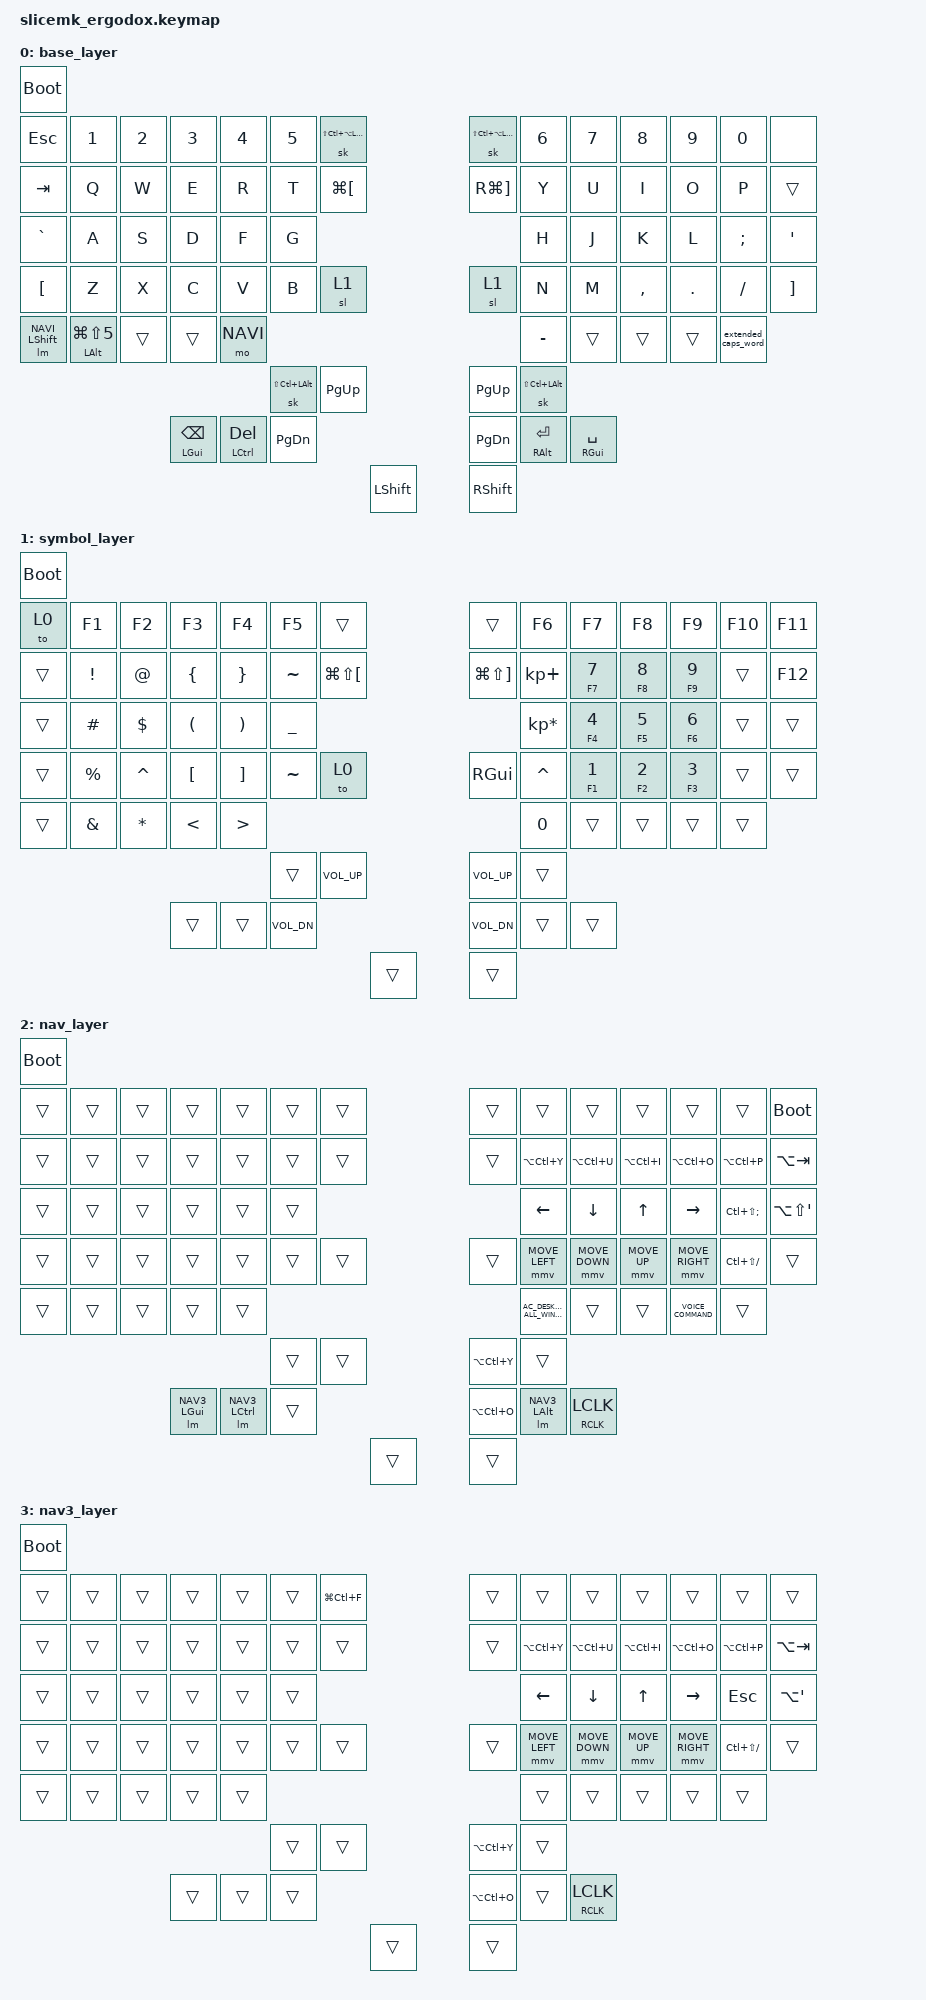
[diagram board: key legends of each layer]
/*
 * SliceMK ErgoDox Wireless keymap (dongle central).
 *
 * Four layers:
 *   BASE (0)  alphas, numbers, and mods on the home row / thumbs
 *   SYMB (1)  symbols and function keys
 *   NAVI (2)  arrows, mouse movement, and media
 *   NAV3 (3)  extended navigation reached from within NAVI
 *
 * KEY POSITION MAP — 77 positions, numbered as the bindings are laid out
 * row by row below. Position 0 is the dedicated bootloader key and is NOT
 * part of the grid.
 *
 *   1  2  3  4  5  6  7        8  9 10 11 12 13 14
 *  15 16 17 18 19 20 21       22 23 24 25 26 27 28
 *  29 30 31 32 33 34             35 36 37 38 39 40
 *  41 42 43 44 45 46 47       48 49 50 51 52 53 54
 *  55 56 57 58 59                   60 61 62 63 64
 *
 *  thumbs:      65 66            67 68      (top pair)
 *            69 70 71            72 73 74   (big keys + inner)
 *                  75            76         (lower single)
 */

#include <behaviors.dtsi>
#include <dt-bindings/zmk/keys.h>
#include <dt-bindings/zmk/bt.h>
#define ZMK_POINTING_DEFAULT_MOVE_VAL 900  /* default 600; nav-layer mouse keys */
#include <dt-bindings/zmk/pointing.h>

#define BASE 0
#define SYMB 1
#define NAVI 2
#define NAV3 3

/*
 * BEHAVIOR LEGEND — what the &-prefixed codes below mean, in plain English.
 *
 *   &kp X          press key X (a letter, number, or symbol)
 *   &sk MOD        "sticky"/one-shot modifier: tap it and it applies to just
 *                  the NEXT key you press, then releases itself
 *   &sl N          "sticky"/one-shot layer: next key alone comes from layer N
 *   &mo N          hold to use layer N; releases when you let go
 *   &to N          switch to layer N and stay there
 *   &mt MOD X      hold = modifier MOD, tap = key X
 *   &lm N MOD      hold = layer N AND modifier MOD at the same time (custom)
 *   &trans         "transparent": do whatever this key does on the layer below
 *   &none          does nothing
 *   &extended_caps_word  like Caps Lock for one word; MINUS stays in-word and becomes _
 *   &bootloader    reboot into flashing mode (for updating the firmware)
 *   &mmv / &msc    move the mouse pointer / scroll the mouse wheel
 *   &mkp BTN       click a mouse button (LCLK left, RCLK right)
 *
 *   Custom hold-tap keys defined in the behaviors block below:
 *   &df0 MOD X     hold modifier MOD, tap key X
 *   &tmt MOD X     thumb mod-tap: like &mt but tap-preferred — a quick tap
 *                  types the key, only a deliberate hold sends the modifier;
 *                  tap then hold again within quick-tap-ms repeats the tap key
 *   &df1 N X       hold layer N, tap key X
 *   &dfk X Y       hold key X, tap key Y
 *   &df11 B1 B2    hold mouse button B1, tap mouse button B2
 *   &st_macro_0/1  type the text "-> " / "=> "
 *
 * MODIFIER NAMES — L/R = left/right; GUI is the Command/Windows/Super key.
 *   Codes nest to press several at once, e.g.
 *     LS(LC(LALT))       = Shift+Ctrl+Alt          ("Meh")
 *     LS(LC(LA(LGUI)))   = Shift+Ctrl+Alt+GUI      ("Hyper")
 *     LG(LBKT)           = Command + [
 *     LA(LC(Y))          = Ctrl+Alt+Y
 */

/ {
    behaviors {
        /* Dual-function (hold-tap) keys: holding past the tapping term
           engages the first binding, a quick tap sends the second.
           tap-preferred favors the tapped keycode when timing is close. */
        df0: df0_screenshot_alt {   /* hold a modifier, tap a keycode */
            compatible = "zmk,behavior-hold-tap";
            #binding-cells = <2>;
            flavor = "tap-preferred";
            tapping-term-ms = <193>;
            bindings = <&kp>, <&kp>;
        };
        df1: df1_under_navi {   /* hold a layer, tap a keycode */
            compatible = "zmk,behavior-hold-tap";
            #binding-cells = <2>;
            flavor = "tap-preferred";
            tapping-term-ms = <107>;   /* short term: layer engages quickly */
            bindings = <&mo>, <&kp>;
        };
        dfk: dual_func_kp {   /* hold one keycode, tap another */
            compatible = "zmk,behavior-hold-tap";
            #binding-cells = <2>;
            flavor = "tap-preferred";
            tapping-term-ms = <193>;
            bindings = <&kp>, <&kp>;
        };
        df11: df11_mouse_buttons {   /* hold one mouse button, tap another */
            compatible = "zmk,behavior-hold-tap";
            #binding-cells = <2>;
            flavor = "tap-preferred";
            tapping-term-ms = <193>;
            bindings = <&mkp>, <&mkp>;
        };

        /* Thumb mod-taps: like the built-in &mt, but tap-preferred with a
           slightly longer term. During fast typing an interrupting key no
           longer forces the hold, so e.g. space-then-a-letter types a space
           instead of firing the modifier; only a deliberate hold sends MOD.
           quick-tap-ms: after a tap, press again within the window to hold
           the tap key so OS repeat kicks in (e.g. tap-then-hold Del). */
        tmt: thumb_mod_tap {
            compatible = "zmk,behavior-hold-tap";
            #binding-cells = <2>;
            flavor = "tap-preferred";
            tapping-term-ms = <220>;
            quick-tap-ms = <200>;
            bindings = <&kp>, <&kp>;
        };

        /* Layer-mod: while held, activates a layer and holds a modifier at
           the same time (first param = layer, second = modifier). */
        lm: layer_mod {
            compatible = "zmk,behavior-macro-two-param";
            #binding-cells = <2>;
            bindings
                = <&macro_param_1to1>, <&macro_press &mo MACRO_PLACEHOLDER>
                , <&macro_param_2to1>, <&macro_press &kp MACRO_PLACEHOLDER>
                , <&macro_pause_for_release>
                , <&macro_param_2to1>, <&macro_release &kp MACRO_PLACEHOLDER>
                , <&macro_param_1to1>, <&macro_release &mo MACRO_PLACEHOLDER>
                ;
        };

        /* Extended caps word: alphas + MINUS keep the word going; MINUS → _ . */
        extended_caps_word: extended_caps_word {
            compatible = "zmk,behavior-extended-caps-word";
            #binding-cells = <0>;
            continue-list = <UNDERSCORE BACKSPACE DELETE MINUS>;
        };

    };

    macros {
        st_macro_0: st_macro_0 {
            compatible = "zmk,behavior-macro";
            #binding-cells = <0>;
            wait-ms = <100>;
            tap-ms = <5>;
            bindings = <&kp MINUS &kp GT &kp SPACE>;   /* "-> " */
        };
        st_macro_1: st_macro_1 {
            compatible = "zmk,behavior-macro";
            #binding-cells = <0>;
            wait-ms = <100>;
            tap-ms = <5>;
            bindings = <&kp EQUAL &kp GT &kp SPACE>;   /* "=> " */
        };
    };

    combos {
        compatible = "zmk,combos";

        /* Same-hand combos: tight 50ms window, since both keys are pressed
           by one hand and land almost together. */

        /* --- unpaired, left hand (no mirror-image counterpart) --- */

        /*
         * LHS    q+e ➔ =
         */
        c_equal     { key-positions = <16 18>;       bindings = <&kp EQUAL>;       timeout-ms = <50>; };

        /*
         * LHS    a+d ➔ +
         */
        c_plus      { key-positions = <30 32>;       bindings = <&kp PLUS>;        timeout-ms = <50>; };

        /*
         * LHS    s+d ➔ <
         */
        c_lt        { key-positions = <31 32>;       bindings = <&kp LT>;          timeout-ms = <50>; };

        /*
         * LHS    d+f ➔ >
         */
        c_gt        { key-positions = <32 33>;       bindings = <&kp GT>;          timeout-ms = <50>; };

        /* --- unpaired, right hand (no mirror-image counterpart) --- */

        /*
         * RHS    k+l ➔ |
         */
        c_pipe      { key-positions = <37 38>;       bindings = <&kp PIPE>;        timeout-ms = <50>; };

        /*
         * RHS    j+k ➔ &
         */
        c_amps      { key-positions = <36 37>;       bindings = <&kp AMPS>;        timeout-ms = <50>; };

        /*
         * RHS    l+; ➔ backslash
         */
        c_bslh      { key-positions = <38 39>;       bindings = <&kp BSLH>;        timeout-ms = <50>; };

        /* --- isomorphic pairs (left / right mirror images, same action) --- */

        /*
         * LHS    d+v ➔ next key comes from the symbol layer
         */
        c_sl1_dv    { key-positions = <32 45>;       bindings = <&sl 1>;           timeout-ms = <50>; };
        /*
         * RHS    k+m ➔ next key comes from the symbol layer
         */
        c_sl1_mk    { key-positions = <37 50>;       bindings = <&sl 1>;           timeout-ms = <50>; };

        /*
         * LHS    s+d+f ➔ Shift the next key
         */
        c_sk_lsft_l { key-positions = <31 32 33>;    bindings = <&sk LSHFT>;       timeout-ms = <50>; };
        /*
         * RHS    j+k+l ➔ Shift the next key
         */
        c_sk_rsft_r { key-positions = <36 37 38>;    bindings = <&sk RSHFT>;       timeout-ms = <50>; };

        /*
         * LHS    w+e+r ➔ Ctrl the next key
         */
        c_sk_lctl   { key-positions = <17 18 19>;    bindings = <&sk LCTRL>;       timeout-ms = <50>; };
        /*
         * RHS    u+i+o ➔ Ctrl the next key
         */
        c_sk_rctl   { key-positions = <24 25 26>;    bindings = <&sk RCTRL>;       timeout-ms = <50>; };

        /*
         * LHS    x+c+v ➔ Alt the next key
         */
        c_sk_lalt   { key-positions = <43 44 45>;    bindings = <&sk LALT>;        timeout-ms = <50>; };
        /*
         * RHS    m+,+. ➔ Alt the next key
         */
        c_sk_ralt   { key-positions = <50 51 52>;    bindings = <&sk RALT>;        timeout-ms = <50>; };

        /*
         * LHS    a+s+d+f ➔ Command/GUI the next key
         */
        c_sk_lgui   { key-positions = <30 31 32 33>; bindings = <&sk LGUI>;        timeout-ms = <50>; };
        /*
         * RHS    j+k+l+; ➔ Command/GUI the next key
         */
        c_sk_rgui   { key-positions = <36 37 38 39>; bindings = <&sk RGUI>;        timeout-ms = <50>; };

        /* Cross-hand combos: wider 65ms window, allowing for the two split
           halves reporting slightly apart over the wireless link. */

        /*
         * d+k ➔ Search
         */
        c_search    { key-positions = <32 37>;       bindings = <&kp C_AC_SEARCH>; timeout-ms = <65>; };

        /*
         * f+j ➔ types "-> "
         */
        c_arrow     { key-positions = <33 36>;       bindings = <&st_macro_0>;     timeout-ms = <65>; };

        /*
         * e+f+j ➔ types "=> "
         */
        c_fatarrow  { key-positions = <18 33 36>;    bindings = <&st_macro_1>;     timeout-ms = <65>; };

        /*
         * f+; ➔ :
         */
        c_colon     { key-positions = <33 39>;       bindings = <&kp COLON>;       timeout-ms = <65>; };

        /*
         * f+/ ➔ ?
         */
        c_qmark     { key-positions = <33 52>;       bindings = <&kp QMARK>;       timeout-ms = <65>; };

        /*
         * f+- ➔ _
         */
        c_under     { key-positions = <33 60>;       bindings = <&kp UNDER>;       timeout-ms = <65>; };
    };

    keymap {
        compatible = "zmk,keymap";

        /* BASE (0) — everyday typing.
           Row 1 inner keys (beside 5/6): one-shot Hyper (Shift+Ctrl+Alt+GUI).
           Row 2 inner keys: Command+[ and Command+] .
           Row 4 inner keys (beside B/N): one-shot to the SYMBOL layer.
           Left thumb column (row 5):
             &lm NAVI LSHFT        hold NAV layer + Shift
             &df0 LALT LG(LS(N5))  hold Alt, or tap = screenshot (Cmd+Shift+5)
             &mo NAVI              hold NAV layer
           Thumb clusters (both hands):
             Meh (one-shot Shift+Ctrl+Alt) above the inner big key.
             Big keys — left: hold GUI/tap Backspace, hold Ctrl/tap Delete;
                        right: hold Alt/tap Enter, hold GUI/tap Space.
             Inner column, top to bottom: Page Up, Page Down, Shift.
           &extended_caps_word (bottom right): Caps Lock that ends at the next word.
           App bindings:
             Alt+H/J/K/L: AeroSpace focus. [source](https://github.com/blehrer/dotfiles/search?q=%22keymap-ref%3A+aerospace-directional-focus%22&type=code)
             Alt+Shift+H/J/K/L: AeroSpace move. [source](https://github.com/blehrer/dotfiles/search?q=%22keymap-ref%3A+aerospace-directional-move%22&type=code)
             Alt+-/=: AeroSpace resize. [source](https://github.com/blehrer/dotfiles/search?q=%22keymap-ref%3A+aerospace-resize%22&type=code)
             Ctrl+Tab / Ctrl+Shift+Tab: AeroSpace focus cycle. [source](https://github.com/blehrer/dotfiles/search?q=%22keymap-ref%3A+aerospace-focus-cycle%22&type=code)
             Meh+G/H/N/S/T: Zellij mode entry; Meh+Q quit. [source](https://github.com/blehrer/dotfiles/search?q=%22keymap-ref%3A+zellij-mode-entry%22&type=code)
             Cmd+T: Zellij new tab. [source](https://github.com/blehrer/dotfiles/search?q=%22keymap-ref%3A+zellij-new-tab%22&type=code)
             Cmd+/: Zellij current-mode keybinding help. [source](https://github.com/blehrer/dotfiles/search?q=%22keymap-ref%3A+zellij-keybind-tooltip%22&type=code)
             Cmd+Shift+[/]: Zellij quick tab/pane focus. [source](https://github.com/blehrer/dotfiles/search?q=%22keymap-ref%3A+zellij-quick-pane-tab%22&type=code)
             Cmd+H/J/K/L: Zellij directional pane focus. [source](https://github.com/blehrer/dotfiles/search?q=%22keymap-ref%3A+zellij-quick-pane-tab%22&type=code)
             Meh+-/=: Zellij quick resize. [source](https://github.com/blehrer/dotfiles/search?q=%22keymap-ref%3A+zellij-quick-resize%22&type=code)
             Meh+Page Up/Down: Zellij previous/next mode. [source](https://github.com/blehrer/dotfiles/search?q=%22keymap-ref%3A+zellij-mode-cycle%22&type=code)
           Conflicts:
             AeroSpace focus cycle shadows Ghostty tab cycle for Ctrl(+Shift)+Tab.
             AeroSpace shadows Zellij quick resize for Alt+-/= ([source](https://github.com/blehrer/dotfiles/search?q=%22keymap-ref%3A+zellij-alt-quick-actions%22&type=code)). */
        base_layer {
            bindings = <
&bootloader
&kp ESC    &kp N1  &kp N2  &kp N3  &kp N4  &kp N5  &sk LS(LC(LA(LGUI)))    &sk LS(LC(LA(LGUI)))  &kp N6  &kp N7  &kp N8     &kp N9   &kp N0    &none
&kp TAB    &kp Q   &kp W   &kp E   &kp R   &kp T   &kp LG(LBKT)            &kp RG(RBKT)          &kp Y   &kp U   &kp I      &kp O    &kp P     &trans
&kp GRAVE  &kp A   &kp S   &kp D   &kp F   &kp G                                                 &kp H   &kp J   &kp K      &kp L    &kp SEMI  &kp SQT
&kp LBKT   &kp Z   &kp X   &kp C   &kp V   &kp B   &sl 1                   &sl 1                 &kp N   &kp M   &kp COMMA  &kp DOT  &kp FSLH  &kp RBKT
&lm NAVI LSHFT  &df0 LALT LG(LS(N5))  &trans  &trans  &mo NAVI                                   &kp MINUS  &trans  &trans  &trans   &extended_caps_word
                                          &sk LS(LC(LALT))  &kp PG_UP          &kp PG_UP  &sk LS(LC(LALT))
                          &tmt LGUI BSPC  &tmt LCTRL DEL  &kp PG_DN            &kp PG_DN  &tmt RALT RET  &tmt RGUI SPACE
                                                         &kp LSHFT           &kp RSHFT
            >;
        };

        /* SYMB (1) — symbols, function keys, and a right-hand number pad.
           &to 0 (top-left) returns to BASE.
           Left hand: F1–F5 across the top, then punctuation and symbols.
           Row 2 inner keys: Command+Shift+[ / ] (previous/next tab).
           Right hand: F6 through F11/F12 across the top; the home block is a
             number pad, where each &dfk Fn N key taps the number and holds the
             matching function key, with keypad + and * alongside.
           Thumb inner column: Volume Up (top), Volume Down (below it).
           App bindings:
             Cmd+Shift+[ / ]: Zellij previous/next tab or focus. [source](https://github.com/blehrer/dotfiles/search?q=%22keymap-ref%3A+zellij-quick-pane-tab%22&type=code) */
        symbol_layer {
            bindings = <
&bootloader
&to 0   &kp F1     &kp F2     &kp F3    &kp F4    &kp F5     &trans            &trans            &kp F6           &kp F7      &kp F8      &kp F9      &kp F10  &kp F11
&trans  &kp EXCL   &kp AT     &kp LBRC  &kp RBRC  &kp TILDE  &kp LG(LS(LBKT))  &kp LG(LS(RBKT))  &kp KP_PLUS      &dfk F7 N7  &dfk F8 N8  &dfk F9 N9  &trans   &kp F12
&trans  &kp HASH   &kp DLLR   &kp LPAR  &kp RPAR  &kp UNDER                                      &kp KP_MULTIPLY  &dfk F4 N4  &dfk F5 N5  &dfk F6 N6  &trans   &trans
&trans  &kp PRCNT  &kp CARET  &kp LBKT  &kp RBKT  &kp TILDE  &to 0             &kp RGUI          &kp CARET        &dfk F1 N1  &dfk F2 N2  &dfk F3 N3  &trans   &trans
&trans  &kp AMPS   &kp ASTRK  &kp LT    &kp GT                                                   &kp N0  &trans  &trans  &trans  &trans
                                        &trans  &kp C_VOL_UP           &kp C_VOL_UP  &trans
                                &trans  &trans  &kp C_VOL_DN           &kp C_VOL_DN  &trans  &trans
                                                &trans                 &trans
            >;
        };

        /* NAVI (2) — arrows, workspace switching, mouse, and media. Most keys
           are transparent (fall through to BASE); only marked ones act.
           Right-hand home row: Left / Down / Up / Right arrows.
           Row 2 right (Y U I O P): Ctrl+Alt + that key = focus workspace
             1/2/3/4/X (aerospace). NAVI is usually entered by HOLDING the
             base-layer &lm NAVI LSHFT key, so Shift is held too and these
             become Ctrl+Alt+Shift = MOVE the current window to that workspace.
           Row 4 right: hold n/m/,/. to move the pointer.
           Far-right column: Alt+Tab and app shortcuts (Ctrl+Shift+; etc.).
           Bottom row: Mission Control (show all windows) and voice command.
           Left thumbs &lm NAV3 <mod>: hold to reach NAV3 while ALSO holding
             GUI / Ctrl / Alt (see NAV3 below).
           Right thumb &df11 RCLK LCLK: tap = left click, hold = right click.
           App bindings:
             Ctrl+Alt+Y/U/I/O/P: AeroSpace workspace select. [source](https://github.com/blehrer/dotfiles/search?q=%22keymap-ref%3A+aerospace-workspaces%22&type=code)
             With Shift from &lm NAVI LSHFT, Ctrl+Alt+Shift+Y/U/I/O/P move and follow. [source](https://github.com/blehrer/dotfiles/search?q=%22keymap-ref%3A+aerospace-workspaces%22&type=code)
             Alt+Tab / Alt+Shift+Tab: AeroSpace layout cycle (not macOS app switch). [source](https://github.com/blehrer/dotfiles/search?q=%22keymap-ref%3A+aerospace-layout-cycle%22&type=code)
             Alt+Shift+': AeroSpace service mode. [source](https://github.com/blehrer/dotfiles/search?q=%22keymap-ref%3A+aerospace-service-mode%22&type=code)
             Ctrl+Shift+/: Shortcat toggle; domain com.sproutcube.Shortcat, key KeyboardShortcuts_toggleShortcat.
             Ctrl+Shift+;: Scoot grid navigation; domain com.mjrusso.Scoot, key KeyboardShortcuts_useGridBasedNavigation. */
        nav_layer {
            bindings = <
&bootloader
&trans  &trans  &trans  &trans  &trans  &trans  &trans     &trans  &trans         &trans         &trans         &trans         &trans            &bootloader
&trans  &trans  &trans  &trans  &trans  &trans  &trans     &trans  &kp LA(LC(Y))  &kp LA(LC(U))  &kp LA(LC(I))  &kp LA(LC(O))  &kp LA(LC(P))     &kp LA(TAB)
&trans  &trans  &trans  &trans  &trans  &trans                     &kp LEFT       &kp DOWN       &kp UP         &kp RIGHT      &kp LC(LS(SEMI))  &kp LA(LS(SQT))
&trans  &trans  &trans  &trans  &trans  &trans  &trans     &trans  &mmv MOVE_LEFT  &mmv MOVE_DOWN  &mmv MOVE_UP  &mmv MOVE_RIGHT  &kp LC(LS(FSLH))  &trans
&trans  &trans  &trans  &trans  &trans                             &kp C_AC_DESKTOP_SHOW_ALL_WINDOWS  &trans  &trans  &kp C_VOICE_COMMAND  &trans
                                        &trans  &trans                    &kp LA(LC(Y))  &trans
                  &lm NAV3 LGUI  &lm NAV3 LCTRL  &trans                   &kp LA(LC(O))  &lm NAV3 LALT  &df11 RCLK LCLK
                                                 &trans                   &trans
            >;
        };

        /* NAV3 (3) — the same shortcuts as NAVI, reached from NAVI by holding
           one of its &lm NAV3 <mod> thumb keys. Its whole purpose is to STACK
           an extra modifier (GUI / Ctrl / Alt) on top of the NAVI shortcuts, so
           the same arrows and workspace keys fire with that modifier added.
           Extras unique to this layer: top-left inner = Command+Ctrl+F (native
           fullscreen); the far-right column swaps in Esc and Alt+' .
           Ghostty behavior:
             Ghostty consumes Cmd+Up/Down for prompt navigation.
             Ghostty consumes Cmd+Left/Right to send line-boundary controls.
             Ghostty consumes Alt+Left/Right to send word-navigation escapes.
             Ghostty consumes Cmd+Ctrl+F to toggle fullscreen. */
        nav3_layer {
            bindings = <
&bootloader
&trans  &trans  &trans  &trans  &trans  &trans  &kp LG(LC(F))   &trans  &trans         &trans         &trans         &trans         &trans            &trans
&trans  &trans  &trans  &trans  &trans  &trans  &trans          &trans  &kp LA(LC(Y))  &kp LA(LC(U))  &kp LA(LC(I))  &kp LA(LC(O))  &kp LA(LC(P))     &kp LA(TAB)
&trans  &trans  &trans  &trans  &trans  &trans                          &kp LEFT       &kp DOWN       &kp UP         &kp RIGHT      &kp ESC           &kp LA(SQT)
&trans  &trans  &trans  &trans  &trans  &trans  &trans          &trans  &mmv MOVE_LEFT  &mmv MOVE_DOWN  &mmv MOVE_UP  &mmv MOVE_RIGHT  &kp LC(LS(FSLH))  &trans
&trans  &trans  &trans  &trans  &trans                                  &trans  &trans  &trans  &trans  &trans
                                        &trans  &trans                 &kp LA(LC(Y))  &trans
                                &trans  &trans  &trans                 &kp LA(LC(O))  &trans  &df11 RCLK LCLK
                                                &trans                 &trans
            >;
        };
    };
};

/* Nav-layer mouse keys (n/m/,/.): reach full pointer speed quickly on hold. */
&mmv {
    time-to-max-speed-ms = <100>;
    acceleration-exponent = <0>;
};
